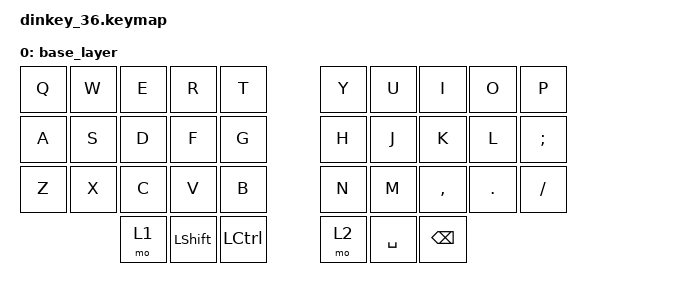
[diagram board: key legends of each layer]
/*
 * Copyright (c) 2021 The ZMK Contributors
 *
 * SPDX-License-Identifier: MIT
 */

#include <behaviors.dtsi>
#include <dt-bindings/zmk/bt.h>
#include <dt-bindings/zmk/keys.h>



/{
   

    keymap {
        compatible = "zmk,keymap";


        base_layer {
            bindings = <
&kp Q  &kp W  &kp E   &kp R          &kp T            &kp Y  &kp U      &kp I         &kp O      &kp P
&kp A  &kp S  &kp D   &kp F          &kp G            &kp H  &kp J      &kp K         &kp L      &kp SEMI
&kp Z  &kp X  &kp C   &kp V          &kp B            &kp N  &kp M      &kp COMMA     &kp DOT    &kp SLASH
              &mo 1   &kp LEFT_SHIFT &kp LEFT_CONTROL &mo 2  &kp SPACE  &kp BACKSPACE
            >;
        };
    };
};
